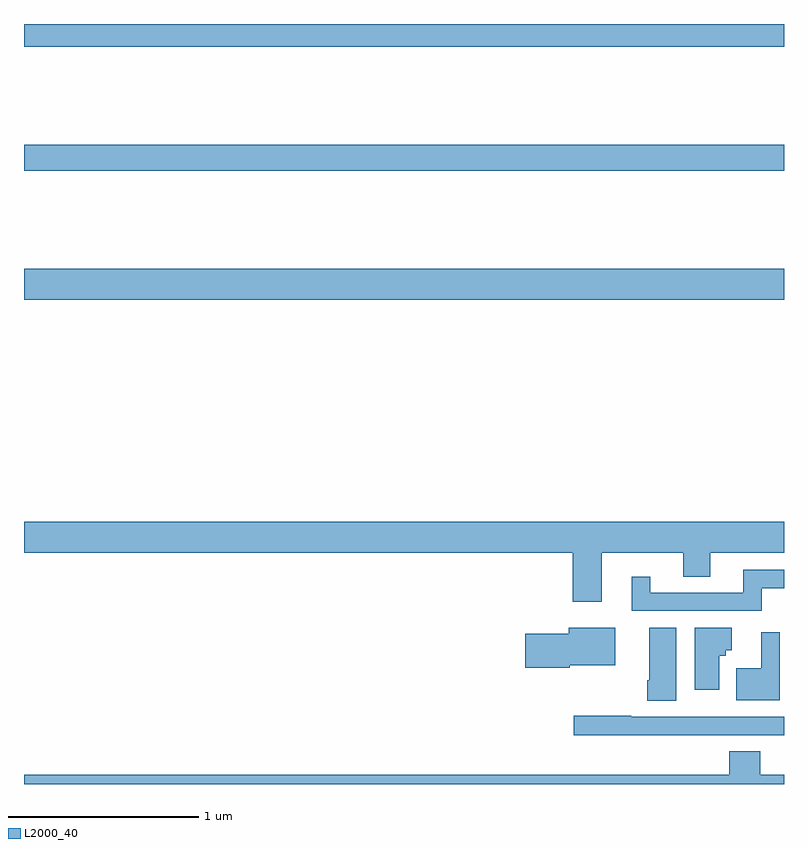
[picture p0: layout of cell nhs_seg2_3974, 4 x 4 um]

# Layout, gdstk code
import gdstk
lib = gdstk.Library(unit=1e-6, precision=1e-09)
def R(c, l, rs):  # rectangles x0, y0, x1, y1
    for r in rs: c.add(gdstk.rectangle(r[:2], r[2:], *l))
def P(c, l, *ps):  # polygons
    for p in ps: c.add(gdstk.Polygon(p, *l))
L2000_40 = (2000, 40)

nhs_seg2_3974 = lib.new_cell('nhs_seg2_3974')
R(nhs_seg2_3974, L2000_40, [(323,602.348,327,602.512), (323,603.028,327,603.164), (323,603.68,327,603.8)])
P(nhs_seg2_3974, L2000_40, [(326.041,601.016),(326.471,601.016),(326.471,600.892),(326.611,600.892),(326.611,601.016),(327,601.016),(327,601.18),(323,601.18),(323,601.016),(325.889,601.016),(325.889,600.759),(326.041,600.759)],
  [(326.884,600.831),(327,600.831),(327,600.927),(326.786,600.927),(326.786,600.807),(326.296,600.807),(326.296,600.892),(326.198,600.892),(326.198,600.711),(326.884,600.711)],
  [(326.434,600.622),(326.291,600.622),(326.291,600.346),(326.279,600.346),(326.279,600.238),(326.434,600.238)],
  [(325.872,600.425),(326.113,600.425),(326.113,600.622),(325.868,600.622),(325.868,600.591),(325.638,600.591),(325.638,600.413),(325.872,600.413)],
  [(326.659,600.475),(326.694,600.475),(326.694,600.503),(326.725,600.503),(326.725,600.622),(326.531,600.622),(326.531,600.297),(326.659,600.297)],
  [(326.978,600.598),(326.879,600.598),(326.879,600.408),(326.748,600.408),(326.748,600.242),(326.978,600.242)],
  [(326.627,600.057),(326.959,600.057),(326.959,600.056),(327,600.056),(327,600.153),(326.195,600.153),(326.195,600.158),(325.893,600.158),(325.893,600.056),(326.627,600.056)],
  [(327,599.848),(326.876,599.848),(326.876,599.972),(326.711,599.972),(326.711,599.848),(323,599.848),(323,599.8),(327,599.8)])

lib.write_gds('nhs_seg2_3974.gds')
